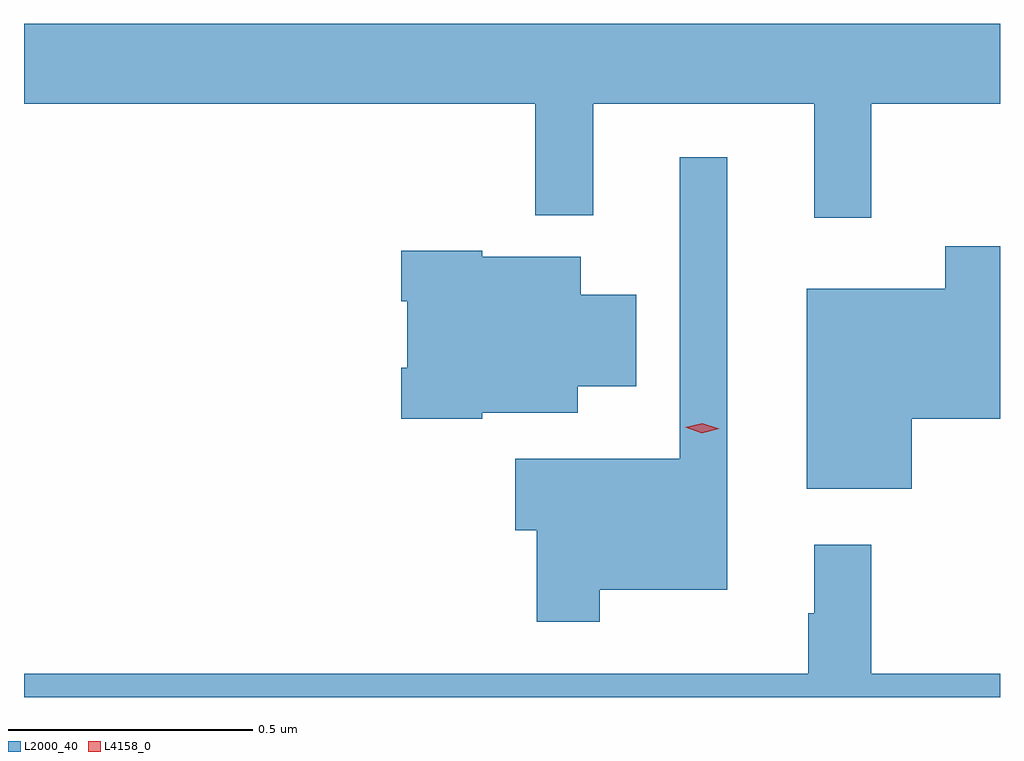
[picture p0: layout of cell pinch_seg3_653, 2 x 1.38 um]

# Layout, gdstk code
import gdstk
lib = gdstk.Library(unit=1e-6, precision=1e-09)
def P(c, l, *ps):  # polygons
    for p in ps: c.add(gdstk.Polygon(p, *l))
L2000_40 = (2000, 40)
L4158_0 = (4158, 0)

pinch_seg3_653 = lib.new_cell('pinch_seg3_653')
P(pinch_seg3_653, L2000_40, [(1047.857,667.616),(1048.121,667.616),(1048.121,667.78),(1046.121,667.78),(1046.121,667.616),(1047.169,667.616),(1047.169,667.388),(1047.287,667.388),(1047.287,667.616),(1047.74,667.616),(1047.74,667.383),(1047.857,667.383)],
  [(1047.301,666.62),(1047.562,666.62),(1047.562,667.507),(1047.465,667.507),(1047.465,666.889),(1047.128,666.889),(1047.128,666.742),(1047.172,666.742),(1047.172,666.555),(1047.301,666.555)],
  [(1047.94,666.971),(1048.121,666.971),(1048.121,667.324),(1048.009,667.324),(1048.009,667.237),(1047.725,667.237),(1047.725,666.827),(1047.94,666.827)],
  [(1047.06,666.983),(1047.256,666.983),(1047.256,667.037),(1047.376,667.037),(1047.376,667.225),(1047.262,667.225),(1047.262,667.303),(1047.06,667.303),(1047.06,667.315),(1046.894,667.315),(1046.894,667.211),(1046.906,667.211),(1046.906,667.075),(1046.894,667.075),(1046.894,666.971),(1047.06,666.971)],
  [(1048.121,666.448),(1047.857,666.448),(1047.857,666.712),(1047.74,666.712),(1047.74,666.572),(1047.728,666.572),(1047.728,666.448),(1046.121,666.448),(1046.121,666.4),(1048.121,666.4)])
P(pinch_seg3_653, L4158_0, [(1047.51,666.941),(1047.476,666.953),(1047.475,666.953),(1047.476,666.953),(1047.511,666.961),(1047.546,666.95),(1047.546,666.95),(1047.546,666.95)])

lib.write_gds('pinch_seg3_653.gds')
